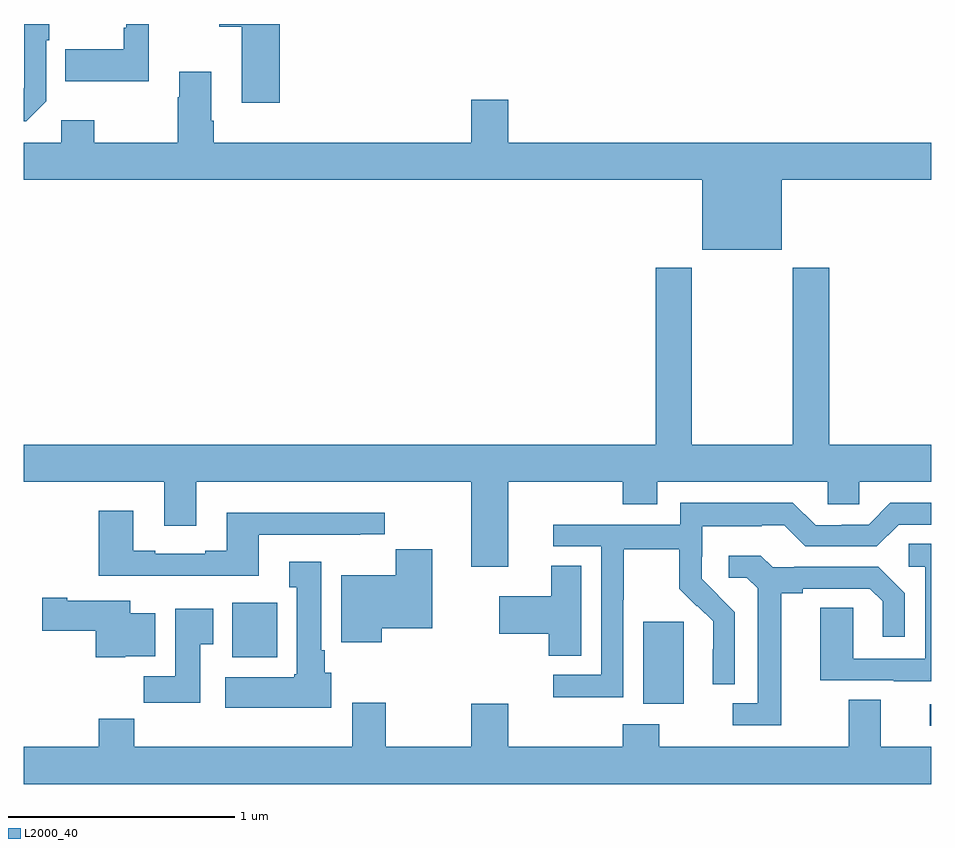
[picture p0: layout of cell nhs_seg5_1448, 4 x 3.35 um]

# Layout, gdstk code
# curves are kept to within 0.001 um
import gdstk
lib = gdstk.Library(unit=1e-6, precision=1e-09)
def R(c, l, rs):  # rectangles x0, y0, x1, y1
    for r in rs: c.add(gdstk.rectangle(r[:2], r[2:], *l))
def P(c, l, *ps):  # polygons
    for p in ps: c.add(gdstk.Polygon(p, *l))
L2000_40 = (2000, 40)

nhs_seg5_1448 = lib.new_cell('nhs_seg5_1448')
R(nhs_seg5_1448, L2000_40, [(202.995,835.704,203,835.8), (201.731,835.802,201.91,836.163), (199.919,836.006,200.116,836.248)])
P(nhs_seg5_1448, L2000_40, [(200.129,838.799),(199.862,838.799),(199.862,838.787),(199.961,838.787),(199.961,838.452),(200.129,838.452)],
  [(199.098,838.458),(199.098,838.727),(199.111,838.727),(199.111,838.799),(199.002,838.799),(199.002,838.518),(199,838.516),(199,838.371),(199.011,838.371)],
  [(199.55,838.799),(199.452,838.799),(199.452,838.783),(199.44,838.783),(199.44,838.687),(199.183,838.687),(199.183,838.547),(199.55,838.547)],
  [(202.342,838.112),(203,838.112),(203,838.276),(201.136,838.276),(201.136,838.465),(200.972,838.465),(200.972,838.276),(199.838,838.276),(199.838,838.372),(199.825,838.372),(199.825,838.588),(199.685,838.588),(199.685,838.475),(199.678,838.475),(199.678,838.276),(199.311,838.276),(199.311,838.375),(199.164,838.375),(199.164,838.276),(199,838.276),(199,838.112),(201.992,838.112),(201.992,837.803),(202.342,837.803)],
  [(201.136,836.78),(201.641,836.78),(201.641,836.681),(201.793,836.681),(201.793,836.78),(202.545,836.78),(202.545,836.682),(202.683,836.682),(202.683,836.78),(203,836.78),(203,836.944),(202.55,836.944),(202.55,837.724),(202.39,837.724),(202.39,836.944),(201.945,836.944),(201.945,837.724),(201.785,837.724),(201.785,836.944),(199,836.944),(199,836.78),(199.619,836.78),(199.619,836.586),(199.759,836.586),(199.759,836.78),(200.972,836.78),(200.972,836.406),(201.136,836.406)],
  [(201.642,836.26),(201.645,836.26),(201.645,836.484),(201.889,836.484),(201.889,836.309),(201.966,836.232),(201.969,836.235),(202.04,836.165),(202.04,836.042),(202.038,836.042),(202.038,835.888),(202.134,835.888),(202.134,836.206),(201.988,836.354),(201.988,836.451),(201.99,836.451),(201.99,836.585),(202.253,836.585),(202.253,836.589),(202.353,836.589),(202.446,836.496),(202.761,836.496),(202.857,836.592),(203,836.592),(203,836.688),(202.821,836.688),(202.725,836.592),(202.607,836.592),(202.607,836.589),(202.491,836.589),(202.391,836.689),(201.894,836.689),(201.894,836.592),(201.333,836.592),(201.333,836.496),(201.546,836.496),(201.546,835.929),(201.333,835.929),(201.333,835.831),(201.642,835.831)],
  [(200.035,836.547),(200.483,836.547),(200.483,836.549),(200.592,836.549),(200.592,836.644),(199.895,836.644),(199.895,836.476),(199.799,836.476),(199.799,836.463),(199.579,836.463),(199.579,836.476),(199.483,836.476),(199.483,836.653),(199.331,836.653),(199.331,836.366),(200.035,836.366)],
  [(203,836.507),(202.902,836.507),(202.902,836.406),(202.974,836.406),(202.974,836.001),(202.656,836.001),(202.656,836.225),(202.511,836.225),(202.511,835.905),(202.835,835.905),(202.835,835.901),(203,835.901)],
  [(200.578,836.135),(200.8,836.135),(200.8,836.484),(200.639,836.484),(200.639,836.368),(200.399,836.368),(200.399,836.072),(200.578,836.072)],
  [(202.339,836.288),(202.435,836.288),(202.435,836.31),(202.73,836.31),(202.787,836.253),(202.787,836.097),(202.884,836.097),(202.884,836.29),(202.768,836.406),(202.396,836.406),(202.396,836.403),(202.302,836.403),(202.25,836.455),(202.107,836.455),(202.107,836.358),(202.188,836.358),(202.235,836.311),(202.235,835.803),(202.125,835.803),(202.125,835.707),(202.339,835.707)],
  [(200.356,835.938),(200.326,835.938),(200.326,836.038),(200.311,836.038),(200.311,836.428),(200.171,836.428),(200.171,836.315),(200.204,836.315),(200.204,835.932),(200.191,835.932),(200.191,835.918),(199.887,835.918),(199.887,835.784),(200.356,835.784)],
  [(201.457,836.411),(201.326,836.411),(201.326,836.275),(201.096,836.275),(201.096,836.11),(201.314,836.11),(201.314,836.014),(201.457,836.014)],
  [(199.446,836.012),(199.579,836.012),(199.579,836.2),(199.468,836.2),(199.468,836.257),(199.192,836.257),(199.192,836.27),(199.08,836.27),(199.08,836.123),(199.316,836.123),(199.316,836.006),(199.446,836.006)],
  [(199.777,836.065),(199.834,836.065),(199.834,836.221),(199.667,836.221),(199.667,835.924),(199.528,835.924),(199.528,835.806),(199.777,835.806)],
  [(203,835.612),(202.777,835.612),(202.777,835.82),(202.637,835.82),(202.637,835.612),(201.801,835.612),(201.801,835.711),(201.641,835.711),(201.641,835.612),(201.136,835.612),(201.136,835.801),(200.972,835.801),(200.972,835.612),(200.595,835.612),(200.595,835.807),(200.447,835.807),(200.447,835.612),(199.487,835.612),(199.487,835.736),(199.331,835.736),(199.331,835.612),(199,835.612),(199,835.448),(203,835.448)])

lib.write_gds('nhs_seg5_1448.gds')
